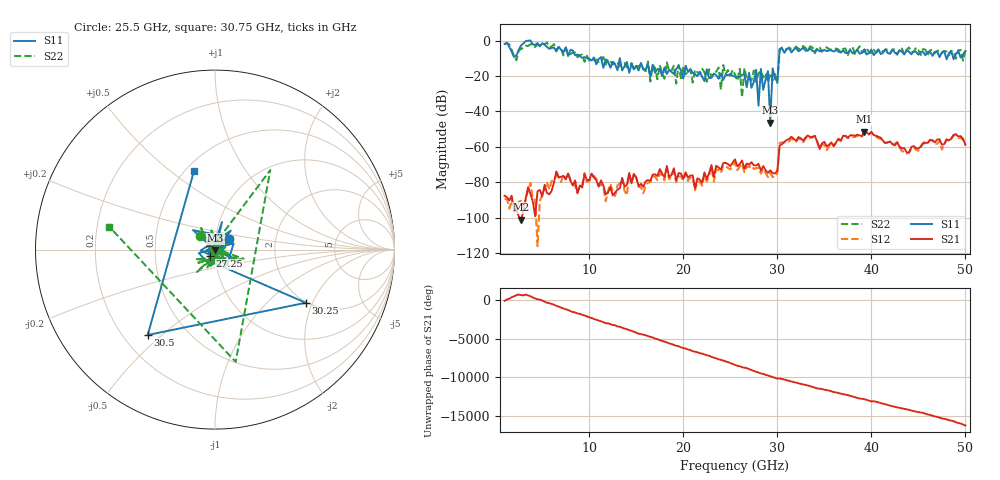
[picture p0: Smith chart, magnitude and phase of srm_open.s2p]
# GHz S RI R 50.0
!freq ReS11 ImS11 ReS21 ImS21 ReS12 ImS12 ReS22 ImS22
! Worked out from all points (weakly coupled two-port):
!   197 points, 1 GHz to 50 GHz, reference 50 ohm
!   highest |S21| = -51.37 dB at 39.25 GHz (marker M1); lowest = -101.0 dB at 2.75 GHz (marker M2)
!   lowest |S11| = -46.4 dB at 29.25 GHz (marker M3), VSWR 1.01, Z = 50.2 - j0.412 ohm
!   |S11| at or under -10 dB: 9.806 GHz to 10.44 GHz (630.3 MHz wide, 6.23 % of centre); 11.28 GHz to 13.25 GHz (1.969 GHz wide, 16.1 % of centre); 13.25 GHz to 30.18 GHz (16.92 GHz wide, 77.9 % of centre) (the widest 3 of 6)
!   |S22| runs from -32.2 to -1.1 dB; largest |S21 - S12| = 0.0052
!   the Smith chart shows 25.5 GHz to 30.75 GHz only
!   S11 on the Smith chart (normalised r, x): 25.5 GHz: 1.16, +0.13; 27.25 GHz: 0.94, -0.07; 30.25 GHz: 1.98, -1.79; 30.5 GHz: 0.30, -0.45; 30.75 GHz: 0.55, +0.60
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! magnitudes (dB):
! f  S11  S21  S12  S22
! 1 GHz  -1.9  -87.5  -89.2  -2.2
! 2.75 GHz  -2.8  -101.0  -90.4  -4.7
! 9.25 GHz  -9.8  -82.9  -81.6  -7.9
! 17.5 GHz  -16.0  -72.5  -74.7  -13.8
! 25.5 GHz  -20.4  -67.1  -68.8  -19.1
! 26.25 GHz  -19.2  -67.7  -69.6  -32.2
! 26.5 GHz  -19.2  -72.4  -74.2  -15.5
! 27.25 GHz  -26.7  -68.7  -70.7  -22.5
! 27.75 GHz  -16.5  -70.5  -72.0  -23.4
! 28 GHz  -36.8  -69.6  -71.7  -18.5
! 28.25 GHz  -16.0  -73.4  -75.1  -17.2
! 29 GHz  -17.2  -74.6  -77.0  -23.7
! 29.25 GHz  -46.4  -73.3  -74.7  -18.5
! 29.5 GHz  -15.7  -74.8  -77.0  -22.6
! 30 GHz  -22.9  -73.6  -74.9  -24.0
! 30.25 GHz  -4.6  -59.3  -57.7  -5.4
! 30.5 GHz  -4.4  -58.5  -57.5  -3.9
! 30.75 GHz  -6.9  -57.2  -57.5  -4.4
! 33.75 GHz  -5.9  -54.3  -54.7  -4.0
! 39.25 GHz  -5.0  -51.4  -51.6  -6.5
! 42 GHz  -7.5  -57.1  -57.0  -6.9
! 50 GHz  -6.0  -58.8  -59.0  -5.5
